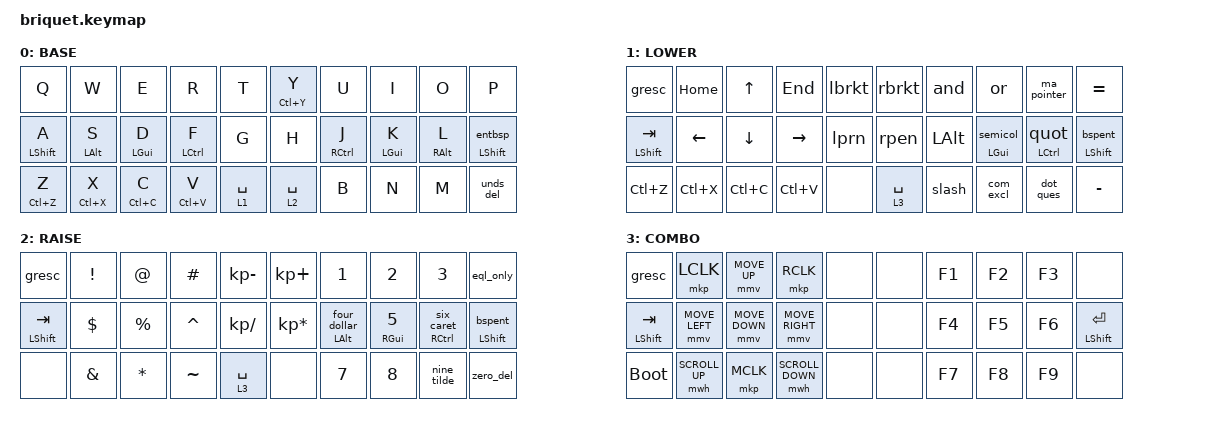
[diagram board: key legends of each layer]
#include <behaviors.dtsi>
#include "./mouse.h"
#include <dt-bindings/zmk/keys.h>

/* Layers */

#define BASE 0
#define LOWER 1
#define RAISE 2
#define COMBO 3

/ {
    behaviors {
        ht: ht {
            compatible = "zmk,behavior-hold-tap";
            label = "Hold&Tap";
            bindings = <&kp>, <&kp>;

            quick-tap-ms = <125>;
            #binding-cells = <2>;
            tapping-term-ms = <125>;
            flavor = "tap-preferred";
        };

        lprn: lprn {
            compatible = "zmk,behavior-mod-morph";
            label = "LPRN";
            bindings = <&kp LEFT_PARENTHESIS>, <&kp LEFT_BRACE>;

            #binding-cells = <0>;
            mods = <(MOD_LSFT)>;
        };

        rpen: rpen {
            compatible = "zmk,behavior-mod-morph";
            label = "RPEN";
            bindings = <&kp RIGHT_PARENTHESIS>, <&kp RIGHT_BRACE>;

            #binding-cells = <0>;
            mods = <(MOD_LSFT)>;
        };

        entbsp: entbsp {
            compatible = "zmk,behavior-mod-morph";
            label = "ENTBSP";
            bindings = <&kp ENTER>, <&kp BACKSPACE>;

            #binding-cells = <0>;
            mods = <(MOD_LSFT)>;
        };

        bspent: bspent {
            compatible = "zmk,behavior-mod-morph";
            label = "BSPENT";
            bindings = <&kp BACKSPACE>, <&kp ENTER>;

            #binding-cells = <0>;
            mods = <(MOD_LSFT)>;
        };

        slash: slash {
            compatible = "zmk,behavior-mod-morph";
            label = "SLASH";
            bindings = <&kp SLASH>, <&kp NON_US_BACKSLASH>;

            #binding-cells = <0>;
            mods = <(MOD_LSFT)>;
        };

        lbrkt: lbrkt {
            compatible = "zmk,behavior-mod-morph";
            label = "LBRKT";
            bindings = <&kp LEFT_BRACKET>, <&kp LESS_THAN>;

            #binding-cells = <0>;
            mods = <(MOD_LSFT)>;
        };

        rbrkt: rbrkt {
            compatible = "zmk,behavior-mod-morph";
            label = "RBRKT";
            bindings = <&kp RIGHT_BRACKET>, <&kp GREATER_THAN>;

            #binding-cells = <0>;
            mods = <(MOD_LSFT)>;
        };

        four_dollar: four_dollar {
            compatible = "zmk,behavior-mod-morph";
            label = "FOUR_DOLLAR";
            bindings = <&kp N4>, <&kp DOLLAR>;

            #binding-cells = <0>;
            mods = <(MOD_LSFT)>;
        };

        six_caret: six_caret {
            compatible = "zmk,behavior-mod-morph";
            label = "SIX_CARET";
            bindings = <&kp N6>, <&kp CARET>;

            #binding-cells = <0>;
            mods = <(MOD_LSFT)>;
        };

        nine_tilde: nine_tilde {
            compatible = "zmk,behavior-mod-morph";
            label = "NINE_TILDE";
            bindings = <&kp N9>, <&kp TILDE>;

            #binding-cells = <0>;
            mods = <(MOD_LSFT)>;
        };

        semi_col: semi_col {
            compatible = "zmk,behavior-mod-morph";
            label = "SEMI_COL";
            bindings = <&kp SEMICOLON>, <&kp COLON>;

            #binding-cells = <0>;
            mods = <(MOD_LSFT)>;
        };

        and: and {
            compatible = "zmk,behavior-mod-morph";
            label = "AND";
            bindings = <&kp AMPERSAND>, <&ma_and>;

            #binding-cells = <0>;
            mods = <(MOD_LSFT)>;
        };

        semicol: semicol {
            compatible = "zmk,behavior-mod-morph";
            label = "SEMICOL";
            bindings = <&kp SEMICOLON>, <&kp COLON>;

            #binding-cells = <0>;
            mods = <(MOD_LSFT)>;
        };

        hold_semicol: hold_semicol {
            compatible = "zmk,behavior-hold-tap";
            label = "Hold&Semicol";
            bindings = <&kp>, <&semicol>;

            #binding-cells = <2>;
            tapping-term-ms = <170>;
            flavor = "tap-preferred";
        };

        quot: quot {
            compatible = "zmk,behavior-mod-morph";
            label = "quot";
            bindings = <&kp DOUBLE_QUOTES>, <&kp SQT>;

            #binding-cells = <0>;
            mods = <(MOD_LSFT)>;
        };

        hold_quot: hold_quot {
            compatible = "zmk,behavior-hold-tap";
            label = "Hold&Quot";
            bindings = <&kp>, <&quot>;

            #binding-cells = <2>;
            tapping-term-ms = <170>;
            flavor = "tap-preferred";
        };

        or: or {
            compatible = "zmk,behavior-mod-morph";
            label = "OR";
            bindings = <&kp PIPE>, <&ma_or>;

            #binding-cells = <0>;
            mods = <(MOD_LSFT)>;
        };

        dot_ques: dot_ques {
            compatible = "zmk,behavior-mod-morph";
            label = "DOT_QUES";
            bindings = <&kp PERIOD>, <&kp QUESTION>;

            #binding-cells = <0>;
            mods = <(MOD_LSFT)>;
        };

        com_excl: com_excl {
            compatible = "zmk,behavior-mod-morph";
            label = "COM_EXCL";
            bindings = <&kp COMMA>, <&kp EXCL>;

            #binding-cells = <0>;
            mods = <(MOD_LSFT)>;
        };

        hold_four_dollar: hold_four_dollar {
            compatible = "zmk,behavior-hold-tap";
            label = "Hold&Four";
            bindings = <&kp>, <&four_dollar>;

            #binding-cells = <2>;
            tapping-term-ms = <170>;
            flavor = "tap-preferred";
        };

        hold_six_caret: hold_six_caret {
            compatible = "zmk,behavior-hold-tap";
            label = "Hold&Six";
            bindings = <&kp>, <&six_caret>;

            #binding-cells = <2>;
            tapping-term-ms = <170>;
            flavor = "tap-preferred";
        };

        hold_ent_bsp: hold_ent_bsp {
            compatible = "zmk,behavior-hold-tap";
            label = "Hold&Enter";
            bindings = <&kp>, <&entbsp>;

            #binding-cells = <2>;
            tapping-term-ms = <170>;
            flavor = "tap-preferred";
        };

        hold_bsp_ent: hold_bsp_ent {
            compatible = "zmk,behavior-hold-tap";
            label = "Hold&BSP";
            bindings = <&kp>, <&bspent>;

            #binding-cells = <2>;
            tapping-term-ms = <170>;
            flavor = "tap-preferred";
        };

        unds_del: unds_del {
            compatible = "zmk,behavior-mod-morph";
            label = "UNDS_DEL";
            bindings = <&kp UNDERSCORE>, <&kp DEL>;

            #binding-cells = <0>;
            mods = <(MOD_LSFT)>;
        };

        zero_del: zero_del {
            compatible = "zmk,behavior-mod-morph";
            label = "ZERO_DEL";
            bindings = <&kp N0>, <&kp DEL>;

            #binding-cells = <0>;
            mods = <(MOD_LSFT)>;
        };

        eql_only: eql_only {
            compatible = "zmk,behavior-mod-morph";
            label = "EQUAL_ONLY";
            bindings = <&kp EQUAL>, <&none>;

            #binding-cells = <0>;
            mods = <(MOD_LSFT)>;
        };

        com_dot: com_dot {
            compatible = "zmk,behavior-mod-morph";
            label = "COM_DOT";
            bindings = <&kp COMMA>, <&kp PERIOD>;

            #binding-cells = <0>;
            mods = <(MOD_LSFT)>;
        };
    };

    macros {
        ma_equal: ma_equal {
            compatible = "zmk,behavior-macro";
            #binding-cells = <0>;
            bindings = <&kp EQUAL &kp EQUAL>, <&macro_press>;

            label = "MA_EQUAL";
        };

        ma_pointer: ma_pointer {
            compatible = "zmk,behavior-macro";
            #binding-cells = <0>;
            bindings = <&kp MINUS &kp GT>;
            label = "MA_POINTER";
        };

        ma_or: ma_or {
            compatible = "zmk,behavior-macro";
            #binding-cells = <0>;
            bindings = <&kp PIPE &kp PIPE>;
            label = "MA_OR";
        };

        ma_and: ma_and {
            compatible = "zmk,behavior-macro";
            #binding-cells = <0>;
            bindings = <&kp AMPS &kp AMPS>;
            label = "MA_AND";
        };
    };

    combos {
        compatible = "zmk,combos";

        alt_tab {
            bindings = <&kp LA(TAB)>;
            key-positions = <24 0>;
            layers = <1>;
        };
    };

    keymap {
        compatible = "zmk,keymap";

        BASE {
            bindings = <
&kp Q             &kp W           &kp E           &kp R        &kp T        &ht LC(Y) Y  &kp U        &kp I           &kp O            &kp P
&ht LEFT_SHIFT A  &ht LEFT_ALT S  &ht LEFT_GUI D  &ht LCTRL F  &kp G        &kp H        &ht RCTRL J  &ht LEFT_GUI K  &ht RIGHT_ALT L  &hold_ent_bsp LEFT_SHIFT 0
&ht LC(Z) Z       &ht LC(X) X     &ht LC(C) C     &ht LC(V) V  &lt 1 SPACE  &lt 2 SPACE  &kp B        &kp N           &kp M            &unds_del
            >;

            label = "BASE";
        };

        LOWER {
            bindings = <
&gresc          &kp HOME   &kp UP     &kp END    &lbrkt  &rbrkt       &and      &or                   &ma_pointer         &kp EQUAL
&ht LSHIFT TAB  &kp LEFT   &kp DOWN   &kp RIGHT  &lprn   &rpen        &kp LALT  &hold_semicol LGUI 0  &hold_quot LCTRL 0  &hold_bsp_ent LEFT_SHIFT 0
&kp LC(Z)       &kp LC(X)  &kp LC(C)  &kp LC(V)  &none   &lt 3 SPACE  &slash    &com_excl             &dot_ques           &kp MINUS
            >;

            label = "LOWER";
        };

        RAISE {
            bindings = <
&gresc          &kp EXCL    &kp AT       &kp HASH   &kp KP_SUBTRACT  &kp KP_PLUS      &kp N1                    &kp N2       &kp N3                   &eql_only
&ht LSHIFT TAB  &kp DOLLAR  &kp PERCENT  &kp CARET  &kp KP_DIVIDE    &kp KP_MULTIPLY  &hold_four_dollar LALT 0  &ht RGUI N5  &hold_six_caret RCTRL 0  &hold_bsp_ent LEFT_SHIFT 0
&none           &kp AMPS    &kp ASTRK    &kp TILDE  &lt 3 SPACE      &none            &kp N7                    &kp N8       &nine_tilde              &zero_del
            >;

            label = "RAISE";
        };

        COMBO {
            bindings = <
&gresc          &mkp LCLK       &mmv MOVE_UP    &mkp RCLK         &none  &none  &kp F1  &kp F2  &kp F3  &none
&ht LSHIFT TAB  &mmv MOVE_LEFT  &mmv MOVE_DOWN  &mmv MOVE_RIGHT   &none  &none  &kp F4  &kp F5  &kp F6  &ht LSHIFT ENTER
&bootloader     &mwh SCROLL_UP  &mkp MCLK       &mwh SCROLL_DOWN  &none  &none  &kp F7  &kp F8  &kp F9  &none
            >;

            label = "COMBO";
        };
    };
};
